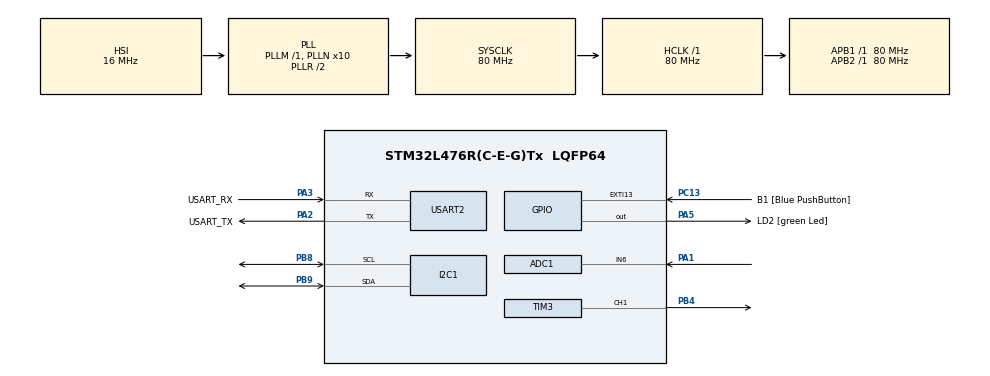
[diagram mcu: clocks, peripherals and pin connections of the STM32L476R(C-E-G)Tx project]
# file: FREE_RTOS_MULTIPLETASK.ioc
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ADC1.Channel-1\#ChannelRegularConversion=ADC_CHANNEL_6
ADC1.NbrOfConversionFlag=1
ADC1.OffsetNumber-1\#ChannelRegularConversion=ADC_OFFSET_NONE
ADC1.Rank-1\#ChannelRegularConversion=1
ADC1.SamplingTime-1\#ChannelRegularConversion=ADC_SAMPLETIME_2CYCLES_5
ADC1.master=1
FREERTOS.Tasks01=defaultTask,24,128,StartDefaultTask,Default,NULL,Dynamic,NULL,NULL;RTC_task,24,256,RTC_func,As weak,NULL,Dynamic,NULL,NULL;LIGHT_SENSOR_TA,24,256,LIGHT_sensor,As weak,NULL,Dynamic,NULL,NULL;PRINT_TASK,24,512,printTask,As weak,NULL,Dynamic,NULL,NULL;BUZZER_TASK,24,256,buzzer_task,As weak,NULL,Dynamic,NULL,NULL
FREERTOS.configTOTAL_HEAP_SIZE=7000
I2C1.Timing=0x10909CEC
Mcu.Family=STM32L4
Mcu.Name=STM32L476R(C-E-G)Tx
Mcu.Package=LQFP64
NVIC.ADC1_2_IRQn=true\:5\:0\:false\:false\:true\:true\:true\:true\:true
NVIC.I2C1_EV_IRQn=true\:5\:0\:false\:false\:true\:true\:true\:true\:true
NVIC.PriorityGroup=NVIC_PRIORITYGROUP_4
NVIC.TIM1_UP_TIM16_IRQn=true\:15\:0\:false\:false\:true\:false\:false\:true\:true
NVIC.TimeBase=TIM1_UP_TIM16_IRQn
NVIC.TimeBaseIP=TIM16
NVIC.USART2_IRQn=true\:5\:0\:false\:false\:true\:true\:true\:true\:true
PA1.Signal=ADCx_IN6
PA13\ (JTMS-SWDIO).GPIO_Label=TMS
PA13\ (JTMS-SWDIO).Mode=Serial_Wire
PA13\ (JTMS-SWDIO).Signal=SYS_JTMS-SWDIO
PA14\ (JTCK-SWCLK).GPIO_Label=TCK
PA14\ (JTCK-SWCLK).Mode=Serial_Wire
PA14\ (JTCK-SWCLK).Signal=SYS_JTCK-SWCLK
PA2.GPIO_Label=USART_TX
PA2.GPIO_Mode=GPIO_MODE_AF_PP
PA2.GPIO_PuPd=GPIO_NOPULL
PA2.GPIO_Speed=GPIO_SPEED_FREQ_VERY_HIGH
PA2.Mode=Asynchronous
PA2.Signal=USART2_TX
PA3.GPIO_Label=USART_RX
PA3.GPIO_Mode=GPIO_MODE_AF_PP
PA3.GPIO_PuPd=GPIO_NOPULL
PA3.GPIO_Speed=GPIO_SPEED_FREQ_VERY_HIGH
PA3.Mode=Asynchronous
PA3.Signal=USART2_RX
PA5.GPIO_Label=LD2 [green Led]
PA5.GPIO_ModeDefaultOutputPP=GPIO_MODE_OUTPUT_PP
PA5.GPIO_PuPd=GPIO_NOPULL
PA5.GPIO_Speed=GPIO_SPEED_FREQ_LOW
PA5.Signal=GPIO_Output
PB3\ (JTDO-TRACESWO).GPIO_Label=SWO
PB3\ (JTDO-TRACESWO).Signal=SYS_JTDO-SWO
PB4\ (NJTRST).Signal=S_TIM3_CH1
PB8.Mode=I2C
PB8.Signal=I2C1_SCL
PB9.Mode=I2C
PB9.Signal=I2C1_SDA
PC13.GPIO_Label=B1 [Blue PushButton]
PC13.GPIO_ModeDefaultEXTI=GPIO_MODE_IT_FALLING
PC13.GPIO_PuPd=GPIO_NOPULL
PC13.Signal=GPXTI13
PC14-OSC32_IN\ (PC14).Mode=LSE-External-Oscillator
PC14-OSC32_IN\ (PC14).Signal=RCC_OSC32_IN
PC15-OSC32_OUT\ (PC15).Mode=LSE-External-Oscillator
PC15-OSC32_OUT\ (PC15).Signal=RCC_OSC32_OUT
PH0-OSC_IN\ (PH0).Signal=RCC_OSC_IN
PH1-OSC_OUT\ (PH1).Signal=RCC_OSC_OUT
ProjectManager.HeapSize=0x200
ProjectManager.StackSize=0x400
ProjectManager.TargetToolchain=STM32CubeIDE
RCC.ADCFreq_Value=64000000
RCC.AHBFreq_Value=80000000
RCC.APB1Freq_Value=80000000
RCC.APB1TimFreq_Value=80000000
RCC.APB2Freq_Value=80000000
RCC.APB2TimFreq_Value=80000000
RCC.CortexFreq_Value=80000000
RCC.HCLKFreq_Value=80000000
RCC.HSE_VALUE=8000000
RCC.HSI_VALUE=16000000
RCC.MSI_VALUE=4000000
RCC.PLLN=10
RCC.PLLSourceVirtual=RCC_PLLSOURCE_HSI
RCC.PREFETCH_ENABLE=1
RCC.SYSCLKFreq_VALUE=80000000
RCC.SYSCLKSource=RCC_SYSCLKSOURCE_PLLCLK
RCC.USBFreq_Value=64000000
RCC.VCOOutputFreq_Value=160000000
SH.ADCx_IN6.0=ADC1_IN6,IN6-Single-Ended
SH.S_TIM3_CH1.0=TIM3_CH1,PWM Generation1 CH1
TIM3.Channel-PWM\ Generation1\ CH1=TIM_CHANNEL_1
TIM3.Prescaler=799
USART2.VirtualMode-Asynchronous=VM_ASYNC
VP_FREERTOS_VS_CMSIS_V2.Mode=CMSIS_V2
VP_SYS_VS_tim16.Mode=TIM16
board=NUCLEO-L476RG

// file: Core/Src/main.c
/* USER CODE BEGIN Header */
/**
  ******************************************************************************
  * @file           : main.c
  * @brief          : Main program body
  ******************************************************************************
  * @attention
  *
  * Copyright (c) 2022 STMicroelectronics.
  * All rights reserved.
  *
  * This software is licensed under terms that can be found in the LICENSE file
  * in the root directory of this software component.
  * If no LICENSE file comes with this software, it is provided AS-IS.
  *
  ******************************************************************************
  */
/* USER CODE END Header */
#include "main.h"
#include "cmsis_os.h"

/* USER CODE BEGIN Includes */
#include "Rtc.h"
#include "lightsens.h"
#include "TASKS.h"
#include <stdint.h>
#include <stdio.h>
#include <string.h>
#include <stdlib.h>
#include "mybuzzer.h"
/* USER CODE END Includes */

 ADC_HandleTypeDef hadc1;

I2C_HandleTypeDef hi2c1;

TIM_HandleTypeDef htim3;

UART_HandleTypeDef huart2;

/* Definitions for defaultTask */
osThreadId_t defaultTaskHandle;
const osThreadAttr_t defaultTask_attributes = {
  .name = "defaultTask",
  .stack_size = 128 * 4,
  .priority = (osPriority_t) osPriorityNormal,
};
/* Definitions for RTC_task */
osThreadId_t RTC_taskHandle;
const osThreadAttr_t RTC_task_attributes = {
  .name = "RTC_task",
  .stack_size = 256 * 4,
  .priority = (osPriority_t) osPriorityNormal,
};
/* Definitions for LIGHT_SENSOR_TA */
osThreadId_t LIGHT_SENSOR_TAHandle;
const osThreadAttr_t LIGHT_SENSOR_TA_attributes = {
  .name = "LIGHT_SENSOR_TA",
  .stack_size = 256 * 4,
  .priority = (osPriority_t) osPriorityNormal,
};
/* Definitions for PRINT_TASK */
osThreadId_t PRINT_TASKHandle;
const osThreadAttr_t PRINT_TASK_attributes = {
  .name = "PRINT_TASK",
  .stack_size = 512 * 4,
  .priority = (osPriority_t) osPriorityNormal,
};
/* Definitions for BUZZER_TASK */
osThreadId_t BUZZER_TASKHandle;
const osThreadAttr_t BUZZER_TASK_attributes = {
  .name = "BUZZER_TASK",
  .stack_size = 256 * 4,
  .priority = (osPriority_t) osPriorityNormal,
};

void SystemClock_Config(void);
static void MX_GPIO_Init(void);
static void MX_USART2_UART_Init(void);
static void MX_I2C1_Init(void);
static void MX_ADC1_Init(void);
static void MX_TIM3_Init(void);
void StartDefaultTask(void *argument);
void RTC_func(void *argument);
void LIGHT_sensor(void *argument);
void printTask(void *argument);
void buzzer_task(void *argument);

/* USER CODE BEGIN 0 */
Rtc rtc;
LIGHTSENS sensor;
DateTime dateTime2;
uint32_t maxvalue = 10;
BUZZER buzzer;
int _write(int fd, char* ptr, int len)
{
      HAL_UART_Transmit(&huart2, (uint8_t *) ptr, len, HAL_MAX_DELAY);
      return len;
}
int song[] = {
		NOTE_5,NOTE_1,NOTE_3,NOTE_4,
		NOTE_5,NOTE_1,NOTE_3,NOTE_4,
		NOTE_5,NOTE_1,NOTE_3,NOTE_4,
		NOTE_5,NOTE_1,NOTE_3,NOTE_4,
		NOTE_5,NOTE_1,NOTE_3,NOTE_4,
		NOTE_5,NOTE_1,NOTE_3,NOTE_4,
		NOTE_5,NOTE_1,NOTE_3,NOTE_4,
		NOTE_5,NOTE_1,NOTE_3,NOTE_4,
		NOTE_3,NOTE_3,
		NOTE_1,NOTE_1,
		NOTE_3,NOTE_4,NOTE_5,
		NOTE_1,NOTE_3,NOTE_4,
		NOTE_2,NOTE_2,
		NOTE_2,NOTE_2,
		NOTE_2,NOTE_2,
		NOTE_2,NOTE_2,
		NOTE_4,NOTE_4,
		NOTE_1,NOTE_1,
		NOTE_3,NOTE_2,NOTE_4,
		NOTE_4,NOTE_4,
		NOTE_1,NOTE_1,
		NOTE_3,NOTE_2,NOTE_4,
		NOTE_1,NOTE_1,
		NOTE_3,NOTE_2,NOTE_1,
		NOTE_1,NOTE_1,
		NOTE_1,NOTE_1,
		NOTE_1,NOTE_1,
		NOTE_7,NOTE_7,
		NOTE_1,NOTE_1,
		NOTE_2,NOTE_4,NOTE_7,
		NOTE_1,NOTE_3,NOTE_4,
		NOTE_2,NOTE_2,
		NOTE_2,NOTE_2,
		NOTE_2,NOTE_2,
		NOTE_2,NOTE_2,
		NOTE_4,NOTE_4,
		NOTE_1,NOTE_1,
		NOTE_3,NOTE_2,NOTE_4,
		NOTE_4,NOTE_4,
		NOTE_1,NOTE_1,
		NOTE_3,NOTE_2,NOTE_4,
		NOTE_1,NOTE_1,
		NOTE_3,NOTE_2,NOTE_1,
		NOTE_1,NOTE_1,
		NOTE_1,NOTE_1,
		NOTE_1,NOTE_1,
		NOTE_7,NOTE_7,
		NOTE_1,NOTE_1,
		NOTE_2,NOTE_4,NOTE_7,
		0
	};
int length[]={
		FRAME_1,FRAME_1,FRAME_2,FRAME_2,
		FRAME_1,FRAME_1,FRAME_2,FRAME_2,
		FRAME_1,FRAME_1,FRAME_2,FRAME_2,
		FRAME_1,FRAME_1,FRAME_2,FRAME_2,
		FRAME_1,FRAME_1,FRAME_2,FRAME_2,
		FRAME_1,FRAME_1,FRAME_2,FRAME_2,
		FRAME_1,FRAME_1,FRAME_2,FRAME_2,
		FRAME_1,FRAME_1,FRAME_2,FRAME_2,
		FRAME_0,FRAME_1,
		FRAME_0,FRAME_1,
		FRAME_2,FRAME_2,FRAME_0,
		FRAME_0,FRAME_2,FRAME_2,
		FRAME_0,FRAME_1,
		FRAME_0,FRAME_1,
		FRAME_0,FRAME_1,
		FRAME_0,FRAME_1,
		FRAME_0,FRAME_1,
		FRAME_0,FRAME_1,
		FRAME_2,FRAME_2,FRAME_0,
		FRAME_0,FRAME_1,
		FRAME_0,FRAME_1,
		FRAME_2,FRAME_2,FRAME_0,
		FRAME_0,FRAME_1,
		FRAME_2,FRAME_2,FRAME_0,
		FRAME_0,FRAME_1,
		FRAME_0,FRAME_1,
		FRAME_0,FRAME_1,
		FRAME_0,FRAME_1,
		FRAME_0,FRAME_1,
		FRAME_2,FRAME_2,FRAME_0,
		FRAME_0,FRAME_2,FRAME_2,
		FRAME_0,FRAME_1,
		FRAME_0,FRAME_1,
		FRAME_0,FRAME_1,
		FRAME_0,FRAME_1,
		FRAME_0,FRAME_1,
		FRAME_0,FRAME_1,
		FRAME_2,FRAME_2,FRAME_0,
		FRAME_0,FRAME_1,
		FRAME_0,FRAME_1,
		FRAME_2,FRAME_2,FRAME_0,
		FRAME_0,FRAME_1,
		FRAME_2,FRAME_2,FRAME_0,
		FRAME_0,FRAME_1,
		FRAME_0,FRAME_1,
		FRAME_0,FRAME_1,
		FRAME_0,FRAME_1,
		FRAME_0,FRAME_1,
		FRAME_2,FRAME_2,FRAME_0,
		0

};
/* USER CODE END 0 */

int main(void)
{

  /* MCU Configuration--------------------------------------------------------*/

  /* Reset of all peripherals, Initializes the Flash interface and the Systick. */
  HAL_Init();

  /* Configure the system clock */
  SystemClock_Config();

  /* Initialize all configured peripherals */
  MX_GPIO_Init();
  MX_USART2_UART_Init();
  MX_I2C1_Init();
  MX_ADC1_Init();
  MX_TIM3_Init();
  /* USER CODE BEGIN 2 */
  buzzerStartPlay(&buzzer, song, length);
  lightsenseInit(&sensor, &hadc1, maxvalue);
  rtcInit(&rtc, &hi2c1, 0xD0);

  /* USER CODE END 2 */

  /* Init scheduler */
  osKernelInitialize();

  /* Create the thread(s) */
  /* creation of defaultTask */
  defaultTaskHandle = osThreadNew(StartDefaultTask, NULL, &defaultTask_attributes);

  /* creation of RTC_task */
  RTC_taskHandle = osThreadNew(RTC_func, NULL, &RTC_task_attributes);

  /* creation of LIGHT_SENSOR_TA */
  LIGHT_SENSOR_TAHandle = osThreadNew(LIGHT_sensor, NULL, &LIGHT_SENSOR_TA_attributes);

  /* creation of PRINT_TASK */
  PRINT_TASKHandle = osThreadNew(printTask, NULL, &PRINT_TASK_attributes);

  /* creation of BUZZER_TASK */
 // BUZZER_TASKHandle = osThreadNew(buzzer_task, NULL, &BUZZER_TASK_attributes);

  /* Start scheduler */
  osKernelStart();

  /* We should never get here as control is now taken by the scheduler */
  /* Infinite loop */
  while (1)
  {

  }
}

void SystemClock_Config(void)
{
  RCC_OscInitTypeDef RCC_OscInitStruct = {0};
  RCC_ClkInitTypeDef RCC_ClkInitStruct = {0};

  /** Configure the main internal regulator output voltage
  */
  if (HAL_PWREx_ControlVoltageScaling(PWR_REGULATOR_VOLTAGE_SCALE1) != HAL_OK)
  {
    Error_Handler();
  }

  /** Initializes the RCC Oscillators according to the specified parameters
  * in the RCC_OscInitTypeDef structure.
  */
  RCC_OscInitStruct.OscillatorType = RCC_OSCILLATORTYPE_HSI;
  RCC_OscInitStruct.HSIState = RCC_HSI_ON;
  RCC_OscInitStruct.HSICalibrationValue = RCC_HSICALIBRATION_DEFAULT;
  RCC_OscInitStruct.PLL.PLLState = RCC_PLL_ON;
  RCC_OscInitStruct.PLL.PLLSource = RCC_PLLSOURCE_HSI;
  RCC_OscInitStruct.PLL.PLLM = 1;
  RCC_OscInitStruct.PLL.PLLN = 10;
  RCC_OscInitStruct.PLL.PLLP = RCC_PLLP_DIV7;
  RCC_OscInitStruct.PLL.PLLQ = RCC_PLLQ_DIV2;
  RCC_OscInitStruct.PLL.PLLR = RCC_PLLR_DIV2;
  if (HAL_RCC_OscConfig(&RCC_OscInitStruct) != HAL_OK)
  {
    Error_Handler();
  }

  /** Initializes the CPU, AHB and APB buses clocks
  */
  RCC_ClkInitStruct.ClockType = RCC_CLOCKTYPE_HCLK|RCC_CLOCKTYPE_SYSCLK
                              |RCC_CLOCKTYPE_PCLK1|RCC_CLOCKTYPE_PCLK2;
  RCC_ClkInitStruct.SYSCLKSource = RCC_SYSCLKSOURCE_PLLCLK;
  RCC_ClkInitStruct.AHBCLKDivider = RCC_SYSCLK_DIV1;
  RCC_ClkInitStruct.APB1CLKDivider = RCC_HCLK_DIV1;
  RCC_ClkInitStruct.APB2CLKDivider = RCC_HCLK_DIV1;

  if (HAL_RCC_ClockConfig(&RCC_ClkInitStruct, FLASH_LATENCY_4) != HAL_OK)
  {
    Error_Handler();
  }
}

static void MX_ADC1_Init(void)
{

  ADC_MultiModeTypeDef multimode = {0};
  ADC_ChannelConfTypeDef sConfig = {0};

  /** Common config
  */
  hadc1.Instance = ADC1;
  hadc1.Init.ClockPrescaler = ADC_CLOCK_ASYNC_DIV1;
  hadc1.Init.Resolution = ADC_RESOLUTION_12B;
  hadc1.Init.DataAlign = ADC_DATAALIGN_RIGHT;
  hadc1.Init.ScanConvMode = ADC_SCAN_DISABLE;
  hadc1.Init.EOCSelection = ADC_EOC_SINGLE_CONV;
  hadc1.Init.LowPowerAutoWait = DISABLE;
  hadc1.Init.ContinuousConvMode = DISABLE;
  hadc1.Init.NbrOfConversion = 1;
  hadc1.Init.DiscontinuousConvMode = DISABLE;
  hadc1.Init.ExternalTrigConv = ADC_SOFTWARE_START;
  hadc1.Init.ExternalTrigConvEdge = ADC_EXTERNALTRIGCONVEDGE_NONE;
  hadc1.Init.DMAContinuousRequests = DISABLE;
  hadc1.Init.Overrun = ADC_OVR_DATA_PRESERVED;
  hadc1.Init.OversamplingMode = DISABLE;
  if (HAL_ADC_Init(&hadc1) != HAL_OK)
  {
    Error_Handler();
  }

  /** Configure the ADC multi-mode
  */
  multimode.Mode = ADC_MODE_INDEPENDENT;
  if (HAL_ADCEx_MultiModeConfigChannel(&hadc1, &multimode) != HAL_OK)
  {
    Error_Handler();
  }

  /** Configure Regular Channel
  */
  sConfig.Channel = ADC_CHANNEL_6;
  sConfig.Rank = ADC_REGULAR_RANK_1;
  sConfig.SamplingTime = ADC_SAMPLETIME_2CYCLES_5;
  sConfig.SingleDiff = ADC_SINGLE_ENDED;
  sConfig.OffsetNumber = ADC_OFFSET_NONE;
  sConfig.Offset = 0;
  if (HAL_ADC_ConfigChannel(&hadc1, &sConfig) != HAL_OK)
  {
    Error_Handler();
  }

}

static void MX_I2C1_Init(void)
{

  hi2c1.Instance = I2C1;
  hi2c1.Init.Timing = 0x10909CEC;
  hi2c1.Init.OwnAddress1 = 0;
  hi2c1.Init.AddressingMode = I2C_ADDRESSINGMODE_7BIT;
  hi2c1.Init.DualAddressMode = I2C_DUALADDRESS_DISABLE;
  hi2c1.Init.OwnAddress2 = 0;
  hi2c1.Init.OwnAddress2Masks = I2C_OA2_NOMASK;
  hi2c1.Init.GeneralCallMode = I2C_GENERALCALL_DISABLE;
  hi2c1.Init.NoStretchMode = I2C_NOSTRETCH_DISABLE;
  if (HAL_I2C_Init(&hi2c1) != HAL_OK)
  {
    Error_Handler();
  }

  /** Configure Analogue filter
  */
  if (HAL_I2CEx_ConfigAnalogFilter(&hi2c1, I2C_ANALOGFILTER_ENABLE) != HAL_OK)
  {
    Error_Handler();
  }

  /** Configure Digital filter
  */
  if (HAL_I2CEx_ConfigDigitalFilter(&hi2c1, 0) != HAL_OK)
  {
    Error_Handler();
  }

}

static void MX_TIM3_Init(void)
{

  TIM_MasterConfigTypeDef sMasterConfig = {0};
  TIM_OC_InitTypeDef sConfigOC = {0};

  htim3.Instance = TIM3;
  htim3.Init.Prescaler = 799;
  htim3.Init.CounterMode = TIM_COUNTERMODE_UP;
  htim3.Init.Period = 65535;
  htim3.Init.ClockDivision = TIM_CLOCKDIVISION_DIV1;
  htim3.Init.AutoReloadPreload = TIM_AUTORELOAD_PRELOAD_DISABLE;
  if (HAL_TIM_PWM_Init(&htim3) != HAL_OK)
  {
    Error_Handler();
  }
  sMasterConfig.MasterOutputTrigger = TIM_TRGO_RESET;
  sMasterConfig.MasterSlaveMode = TIM_MASTERSLAVEMODE_DISABLE;
  if (HAL_TIMEx_MasterConfigSynchronization(&htim3, &sMasterConfig) != HAL_OK)
  {
    Error_Handler();
  }
  sConfigOC.OCMode = TIM_OCMODE_PWM1;
  sConfigOC.Pulse = 0;
  sConfigOC.OCPolarity = TIM_OCPOLARITY_HIGH;
  sConfigOC.OCFastMode = TIM_OCFAST_DISABLE;
  if (HAL_TIM_PWM_ConfigChannel(&htim3, &sConfigOC, TIM_CHANNEL_1) != HAL_OK)
  {
    Error_Handler();
  }
  HAL_TIM_MspPostInit(&htim3);

}

static void MX_USART2_UART_Init(void)
{

  huart2.Instance = USART2;
  huart2.Init.BaudRate = 115200;
  huart2.Init.WordLength = UART_WORDLENGTH_8B;
  huart2.Init.StopBits = UART_STOPBITS_1;
  huart2.Init.Parity = UART_PARITY_NONE;
  huart2.Init.Mode = UART_MODE_TX_RX;
  huart2.Init.HwFlowCtl = UART_HWCONTROL_NONE;
  huart2.Init.OverSampling = UART_OVERSAMPLING_16;
  huart2.Init.OneBitSampling = UART_ONE_BIT_SAMPLE_DISABLE;
  huart2.AdvancedInit.AdvFeatureInit = UART_ADVFEATURE_NO_INIT;
  if (HAL_UART_Init(&huart2) != HAL_OK)
  {
    Error_Handler();
  }

}

static void MX_GPIO_Init(void)
{
  GPIO_InitTypeDef GPIO_InitStruct = {0};

  /* GPIO Ports Clock Enable */
  __HAL_RCC_GPIOC_CLK_ENABLE();
  __HAL_RCC_GPIOH_CLK_ENABLE();
  __HAL_RCC_GPIOA_CLK_ENABLE();
  __HAL_RCC_GPIOB_CLK_ENABLE();

  /*Configure GPIO pin Output Level */
  HAL_GPIO_WritePin(LD2_GPIO_Port, LD2_Pin, GPIO_PIN_RESET);

  /*Configure GPIO pin : B1_Pin */
  GPIO_InitStruct.Pin = B1_Pin;
  GPIO_InitStruct.Mode = GPIO_MODE_IT_FALLING;
  GPIO_InitStruct.Pull = GPIO_NOPULL;
  HAL_GPIO_Init(B1_GPIO_Port, &GPIO_InitStruct);

  /*Configure GPIO pin : LD2_Pin */
  GPIO_InitStruct.Pin = LD2_Pin;
  GPIO_InitStruct.Mode = GPIO_MODE_OUTPUT_PP;
  GPIO_InitStruct.Pull = GPIO_NOPULL;
  GPIO_InitStruct.Speed = GPIO_SPEED_FREQ_LOW;
  HAL_GPIO_Init(LD2_GPIO_Port, &GPIO_InitStruct);

}

void StartDefaultTask(void *argument)
{
  for(;;)
  {
    osDelay(1);
  }
}

__weak void RTC_func(void *argument)
{
  for(;;)
  {
    osDelay(1);
  }
}

__weak void LIGHT_sensor(void *argument)
{
  for(;;)
  {
  }
}

__weak void printTask(void *argument)
{
  for(;;)
  {
    osDelay(1);
  }
}

__weak void buzzer_task(void *argument)
{
  for(;;)
  {
    osDelay(1);
  }
}

void HAL_TIM_PeriodElapsedCallback(TIM_HandleTypeDef *htim)
{
  if (htim->Instance == TIM16) {
    HAL_IncTick();
  }
}

void Error_Handler(void)
{
  __disable_irq();
  while (1)
  {
  }
}
